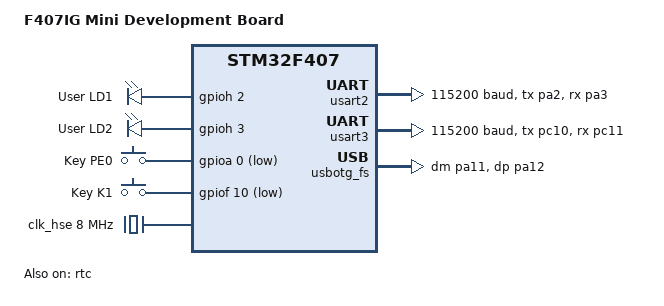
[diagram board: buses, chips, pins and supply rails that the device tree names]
/*
 * Copyright (c) 2022 Sullivan Zeng <2257501878@qq.com>
 *
 * SPDX-License-Identifier: Apache-2.0
 */

/dts-v1/;
#include <st/f4/stm32f407Xg.dtsi>
#include <st/f4/stm32f407i(e-g)tx-pinctrl.dtsi>

/ {
	model = "F407IG Mini Development Board";
	compatible = "st,stm32f407";

	chosen {
		zephyr,console = &usart2;
		zephyr,shell-uart = &usart2;
		zephyr,sram = &sram0;
		zephyr,flash = &flash0;
		zephyr,ccm = &ccm0;
	};

	leds {
		compatible = "gpio-leds";
		ld1: led_1 {
			gpios = <&gpioh 2 GPIO_ACTIVE_HIGH>;
			label = "User LD1";
		};
		ld2: led_2 {
			gpios = <&gpioh 3 GPIO_ACTIVE_HIGH>;
			label = "User LD2";
		};
	};

	gpio_keys {
		compatible = "gpio-keys";
		user_button_0: key_0 {
			label = "Key PE0";
			gpios = <&gpioa 0 GPIO_ACTIVE_LOW>;
		};
		user_button_1: key_1 {
			label = "Key K1";
			gpios = <&gpiof 10 GPIO_ACTIVE_LOW>;
		};
	};

	aliases {
		led0 = &ld1;
		led1 = &ld2;
		sw0 = &user_button_0;
		sw1 = &user_button_1;
	};
};

&clk_lsi {
	status = "okay";
};

&clk_hse {
	clock-frequency = <DT_FREQ_M(8)>;
	status = "okay";
};

&pll {
	div-m = <8>;
	mul-n = <336>;
	div-p = <2>;
	div-q = <7>;
	clocks = <&clk_hse>;
	status = "okay";
};

&rcc {
	clocks = <&pll>;
	clock-frequency = <DT_FREQ_M(168)>;
	ahb-prescaler = <1>;
	apb1-prescaler = <4>;
	apb2-prescaler = <2>;
};

&usart2 {
	pinctrl-0 = <&usart2_tx_pa2 &usart2_rx_pa3>;
	pinctrl-names = "default";
	current-speed = <115200>;
	status = "okay";
};

&usart3 {
	pinctrl-0 = <&usart3_tx_pc10 &usart3_rx_pc11>;
	pinctrl-names = "default";
	current-speed = <115200>;
	status = "okay";
};

&rtc {
	clocks = <&rcc STM32_CLOCK_BUS_APB1 0x10000000>,
		 <&rcc STM32_SRC_LSI RTC_SEL(2)>;
	status = "okay";
};

zephyr_udc0: &usbotg_fs {
	pinctrl-0 = <&usb_otg_fs_dm_pa11 &usb_otg_fs_dp_pa12>;
	pinctrl-names = "default";
	status = "okay";
};
